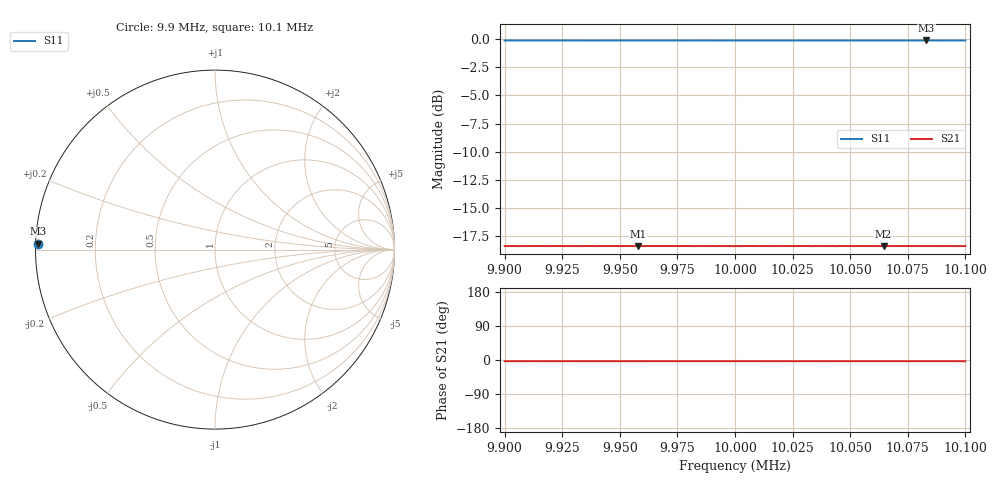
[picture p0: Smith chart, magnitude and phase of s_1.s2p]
! NanoVNA-App
! Date: 2026-10-13 22:19:37
! Start: 9,9MHz Stop: 10,1MHz Points: 401
! S-Parameter data: F S11 S21 S12 S22
# Hz S RI R 50
!  Frequency  S11_Real  S11_Imag  S21_Real  S21_Imag  S12_Real  S12_Imag  S22_Real  S22_Imag
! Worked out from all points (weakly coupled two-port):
!   401 points, 9.9 MHz to 10.1 MHz, reference 50 ohm
!   highest |S21| = -18.35 dB at 9.958 MHz (marker M1); lowest = -18.4 dB at 10.065 MHz (marker M2)
!   lowest |S11| = -0.1 dB at 10.083 MHz (marker M3), VSWR 132.11, Z = 0.379 + j0.845 ohm
!   |S11| at or under -10 dB: nowhere
!   S12 and S22 are empty: the file has one direction only
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9900000  -0.9848 0.0329  0.1205 -0.00677  0 0  0 0
9910500  -0.9847 0.0328  0.1206 -0.00673  0 0  0 0
9919500  -0.9847 0.0327  0.1205 -0.00679  0 0  0 0
9927000  -0.9847 0.0329  0.1206 -0.00684  0 0  0 0
9933500  -0.9846 0.0328  0.1205 -0.0068  0 0  0 0
9941500  -0.9846 0.0328  0.1207 -0.00665  0 0  0 0
9946000  -0.9847 0.0328  0.1205 -0.00669  0 0  0 0
9948500  -0.9846 0.0328  0.1207 -0.00675  0 0  0 0
9950500  -0.9846 0.0329  0.1205 -0.00672  0 0  0 0
9956500  -0.9846 0.0329  0.1205 -0.00677  0 0  0 0
9958000  -0.9846 0.033  0.1207 -0.00678  0 0  0 0
9960000  -0.9847 0.033  0.1205 -0.00673  0 0  0 0
9967000  -0.9846 0.033  0.1207 -0.0068  0 0  0 0
9970000  -0.9846 0.033  0.1206 -0.00674  0 0  0 0
9972500  -0.9847 0.033  0.1206 -0.00679  0 0  0 0
1e7  -0.9847 0.033  0.1205 -0.00671  0 0  0 0
1.00315e7  -0.9846 0.0331  0.1206 -0.0069  0 0  0 0
1.00335e7  -0.9846 0.0331  0.1204 -0.00678  0 0  0 0
1.00645e7  -0.9845 0.0333  0.1204 -0.00689  0 0  0 0
1.0067e7  -0.9845 0.0332  0.1206 -0.00683  0 0  0 0
1.0083e7  -0.9844 0.0333  0.1205 -0.00668  0 0  0 0
1.01e7  -0.9845 0.0333  0.1205 -0.00689  0 0  0 0
